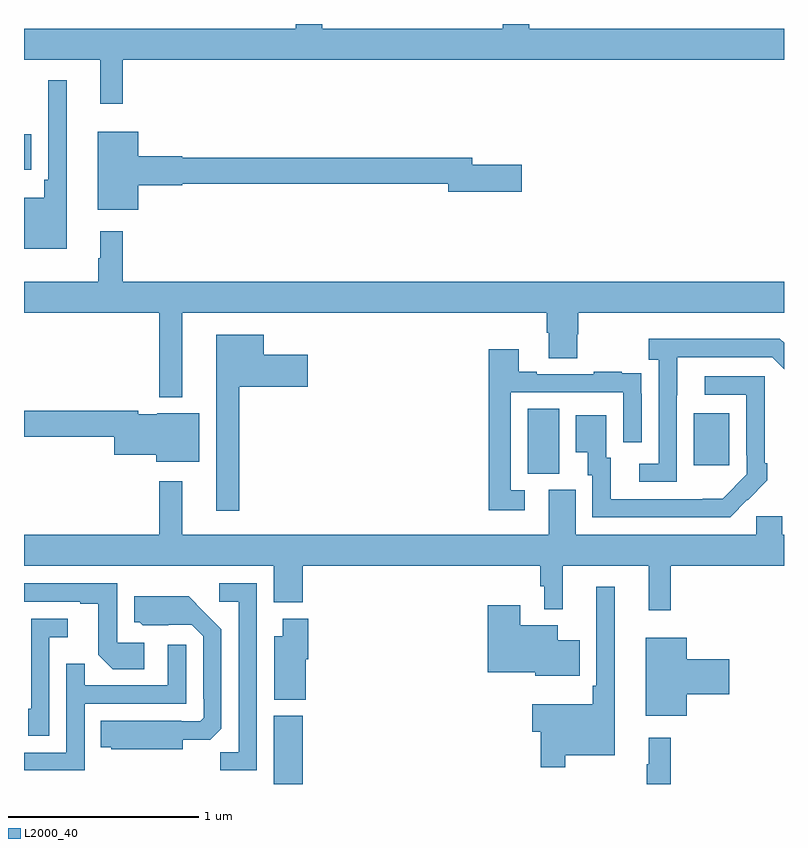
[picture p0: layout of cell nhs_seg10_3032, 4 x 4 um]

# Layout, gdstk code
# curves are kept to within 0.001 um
import gdstk
lib = gdstk.Library(unit=1e-6, precision=1e-09)
def R(c, l, rs):  # rectangles x0, y0, x1, y1
    for r in rs: c.add(gdstk.rectangle(r[:2], r[2:], *l))
def P(c, l, *ps):  # polygons
    for p in ps: c.add(gdstk.Polygon(p, *l))
L2000_40 = (2000, 40)

nhs_seg10_3032 = lib.new_cell('nhs_seg10_3032')
R(nhs_seg10_3032, L2000_40, [(276.314,1300.5,276.467,1300.858), (277.652,1302.133,277.816,1302.476), (278.525,1302.177,278.713,1302.451), (275,1303.733,275.038,1303.921)])
P(nhs_seg10_3032, L2000_40, [(275.519,1304.312),(279,1304.312),(279,1304.476),(277.66,1304.476),(277.66,1304.5),(277.521,1304.5),(277.521,1304.476),(276.571,1304.476),(276.571,1304.5),(276.431,1304.5),(276.431,1304.476),(275,1304.476),(275,1304.312),(275.402,1304.312),(275.402,1304.079),(275.519,1304.079)],
  [(275.224,1304.203),(275.127,1304.203),(275.127,1303.681),(275.107,1303.681),(275.107,1303.585),(275,1303.585),(275,1303.316),(275.224,1303.316)],
  [(275.602,1303.652),(275.832,1303.652),(275.832,1303.66),(277.232,1303.66),(277.232,1303.618),(277.621,1303.618),(277.621,1303.76),(277.36,1303.76),(277.36,1303.796),(275.832,1303.796),(275.832,1303.804),(275.602,1303.804),(275.602,1303.933),(275.387,1303.933),(275.387,1303.523),(275.602,1303.523)],
  [(275.833,1302.98),(277.751,1302.98),(277.751,1302.874),(277.763,1302.874),(277.763,1302.742),(277.911,1302.742),(277.911,1302.867),(277.916,1302.867),(277.916,1302.98),(279,1302.98),(279,1303.144),(275.519,1303.144),(275.519,1303.408),(275.402,1303.408),(275.402,1303.268),(275.391,1303.268),(275.391,1303.144),(275,1303.144),(275,1302.98),(275.712,1302.98),(275.712,1302.536),(275.833,1302.536)],
  [(276.133,1302.59),(276.493,1302.59),(276.493,1302.76),(276.262,1302.76),(276.262,1302.865),(276.011,1302.865),(276.011,1301.937),(276.133,1301.937)],
  [(278.436,1302.547),(278.437,1302.747),(278.937,1302.747),(279,1302.684),(279,1302.822),(278.978,1302.844),(278.289,1302.844),(278.289,1302.734),(278.34,1302.734),(278.34,1302.186),(278.238,1302.186),(278.238,1302.09),(278.436,1302.09)],
  [(277.636,1302.045),(277.563,1302.045),(277.563,1302.561),(278.154,1302.561),(278.154,1302.3),(278.25,1302.3),(278.25,1302.554),(278.249,1302.554),(278.249,1302.663),(278.147,1302.663),(278.147,1302.67),(277.999,1302.67),(277.999,1302.657),(277.699,1302.657),(277.699,1302.67),(277.603,1302.67),(277.603,1302.787),(277.447,1302.787),(277.447,1301.94),(277.636,1301.94)],
  [(278.807,1301.995),(278.808,1301.994),(278.913,1302.099),(278.913,1302.187),(278.898,1302.187),(278.898,1302.645),(278.583,1302.645),(278.583,1302.549),(278.802,1302.549),(278.802,1302.229),(278.805,1302.229),(278.805,1302.129),(278.677,1302.001),(278.089,1302),(278.089,1302.216),(278.065,1302.216),(278.065,1302.442),(277.904,1302.442),(277.904,1302.245),(277.967,1302.245),(277.967,1302.126),(277.992,1302.126),(277.992,1301.904),(278.716,1301.904)],
  [(275.923,1302.451),(275.7,1302.451),(275.7,1302.445),(275.6,1302.445),(275.6,1302.464),(275,1302.464),(275,1302.328),(275.474,1302.328),(275.474,1302.233),(275.696,1302.233),(275.696,1302.197),(275.923,1302.197)],
  [(278.405,1301.648),(279,1301.648),(279,1301.812),(278.992,1301.812),(278.992,1301.91),(278.853,1301.91),(278.853,1301.812),(277.903,1301.812),(277.903,1302.048),(277.763,1302.048),(277.763,1301.812),(275.833,1301.812),(275.833,1302.094),(275.712,1302.094),(275.712,1301.812),(275,1301.812),(275,1301.648),(276.314,1301.648),(276.314,1301.456),(276.467,1301.456),(276.467,1301.648),(277.717,1301.648),(277.717,1301.541),(277.737,1301.541),(277.737,1301.42),(277.835,1301.42),(277.835,1301.648),(278.288,1301.648),(278.288,1301.415),(278.405,1301.415)],
  [(275.632,1301.244),(275.49,1301.244),(275.49,1301.556),(275,1301.556),(275,1301.46),(275.297,1301.46),(275.297,1301.448),(275.391,1301.448),(275.391,1301.18),(275.467,1301.104),(275.632,1301.104)],
  [(276.225,1301.556),(276.027,1301.556),(276.027,1301.46),(276.129,1301.46),(276.129,1300.667),(276.034,1300.667),(276.034,1300.572),(276.225,1300.572)],
  [(277.849,1300.652),(278.11,1300.652),(278.11,1301.539),(278.013,1301.539),(278.013,1301.017),(277.993,1301.017),(277.993,1300.921),(277.676,1300.921),(277.676,1300.774),(277.72,1300.774),(277.72,1300.587),(277.849,1300.587)],
  [(275.836,1300.733),(275.98,1300.733),(276.039,1300.792),(276.039,1301.314),(275.867,1301.488),(275.579,1301.488),(275.579,1301.352),(275.61,1301.352),(275.626,1301.336),(275.883,1301.337),(275.943,1301.277),(275.943,1300.948),(275.946,1300.948),(275.946,1300.848),(275.928,1300.83),(275.828,1300.83),(275.828,1300.834),(275.404,1300.834),(275.404,1300.694),(275.46,1300.694),(275.46,1300.682),(275.836,1300.682)],
  [(277.924,1301.257),(277.81,1301.257),(277.81,1301.335),(277.612,1301.335),(277.612,1301.44),(277.442,1301.44),(277.442,1301.087),(277.692,1301.087),(277.692,1301.069),(277.924,1301.069)],
  [(276.484,1301.157),(276.497,1301.157),(276.497,1301.371),(276.362,1301.371),(276.362,1301.278),(276.317,1301.278),(276.317,1300.943),(276.484,1300.943)],
  [(275.133,1301.273),(275.23,1301.273),(275.23,1301.37),(275.037,1301.37),(275.037,1300.896),(275.022,1300.896),(275.022,1300.753),(275.133,1300.753)],
  [(278.488,1300.973),(278.713,1300.973),(278.713,1301.156),(278.488,1301.156),(278.488,1301.269),(278.273,1301.269),(278.273,1300.859),(278.488,1300.859)],
  [(275.319,1300.923),(275.853,1300.923),(275.853,1301.233),(275.757,1301.233),(275.757,1301.019),(275.321,1301.019),(275.321,1301.132),(275.223,1301.132),(275.223,1300.665),(275,1300.665),(275,1300.572),(275.319,1300.572)],
  [(278.405,1300.744),(278.288,1300.744),(278.288,1300.604),(278.277,1300.604),(278.277,1300.5),(278.405,1300.5)])

lib.write_gds('nhs_seg10_3032.gds')
